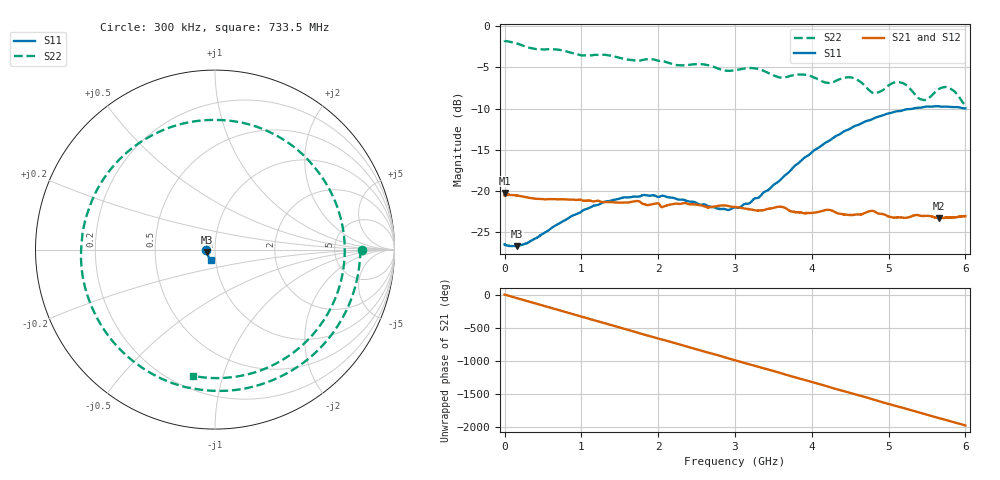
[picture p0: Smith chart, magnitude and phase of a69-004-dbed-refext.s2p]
!  3/18/2021  19:29:40
! Ref Plane: 13.288 mm
# MHZ S MA R  50
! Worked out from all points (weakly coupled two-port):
!   10001 points, 300 kHz to 6 GHz, reference 50 ohm
!   highest |S21| = -20.23 dB at 300 kHz (marker M1); lowest = -23.3 dB at 5.651 GHz (marker M2)
!   lowest |S11| = -26.7 dB at 156.9 MHz (marker M3), VSWR 1.10, Z = 45.8 - j1.33 ohm
!   |S11| at or under -10 dB: start of sweep to 5.322 GHz
!   |S22| runs from -9.6 to -1.8 dB; largest |S21 - S12| = 0.0022
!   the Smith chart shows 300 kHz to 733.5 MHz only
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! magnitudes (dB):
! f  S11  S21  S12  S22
! 300 kHz  -26.4  -20.2  -20.4  -1.8
! 156.9 MHz  -26.7  -20.5  -20.5  -2.1
! 309.3 MHz  -26.2  -20.8  -20.8  -2.6
! 1 GHz  -22.5  -21.1  -21.1  -3.6
! 1.539 GHz  -20.8  -21.4  -21.4  -4.0
! 2.001 GHz  -20.7  -21.5  -21.5  -4.2
! 2.058 GHz  -20.6  -21.9  -21.9  -4.2
! 2.794 GHz  -22.2  -21.8  -21.8  -5.2
! 3 GHz  -22.0  -21.9  -22.0  -5.4
! 3.315 GHz  -20.7  -22.3  -22.4  -5.2
! 3.591 GHz  -18.6  -21.9  -21.9  -6.3
! 3.757 GHz  -17.1  -22.5  -22.5  -6.0
! 4 GHz  -15.3  -22.6  -22.6  -6.1
! 4.219 GHz  -13.9  -22.3  -22.3  -6.9
! 4.527 GHz  -12.3  -22.9  -22.9  -6.3
! 4.814 GHz  -11.2  -22.5  -22.4  -8.2
! 5 GHz  -10.6  -23.1  -23.1  -7.2
! 5.189 GHz  -10.2  -23.2  -23.2  -6.9
! 5.458 GHz  -9.8  -23.0  -23.0  -9.0
! 5.651 GHz  -9.7  -23.3  -23.3  -7.7
! 5.81 GHz  -9.8  -23.2  -23.2  -7.6
! 6 GHz  -10.0  -23.0  -23.0  -9.6
